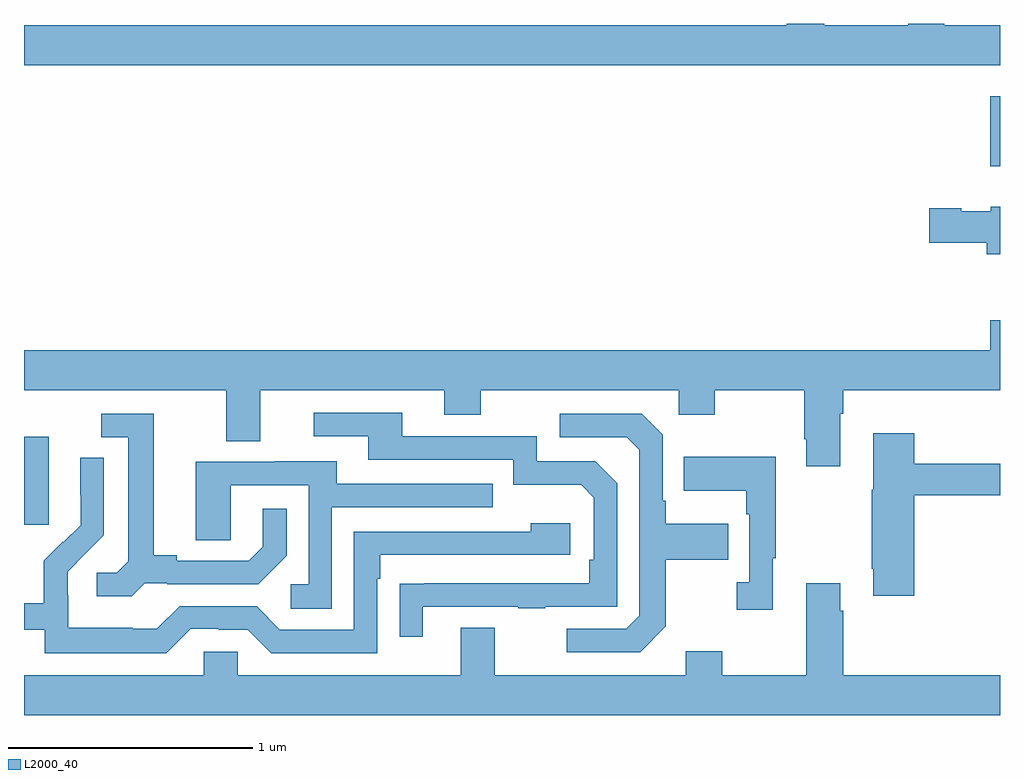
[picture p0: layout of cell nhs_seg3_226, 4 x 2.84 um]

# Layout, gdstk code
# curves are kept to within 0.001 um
import gdstk
lib = gdstk.Library(unit=1e-6, precision=1e-09)
def R(c, l, rs):  # rectangles x0, y0, x1, y1
    for r in rs: c.add(gdstk.rectangle(r[:2], r[2:], *l))
def P(c, l, *ps):  # polygons
    for p in ps: c.add(gdstk.Polygon(p, *l))
L2000_40 = (2000, 40)

nhs_seg3_226 = lib.new_cell('nhs_seg3_226')
R(nhs_seg3_226, L2000_40, [(121,720.345,121.102,720.706), (124.961,721.814,125,722.101)])
P(nhs_seg3_226, L2000_40, [(125,722.392),(124.771,722.392),(124.771,722.4),(124.624,722.4),(124.624,722.392),(124.279,722.392),(124.279,722.4),(124.127,722.4),(124.127,722.392),(121,722.392),(121,722.228),(125,722.228)],
  [(125,721.648),(124.962,721.648),(124.962,721.63),(124.842,721.63),(124.842,721.643),(124.71,721.643),(124.71,721.501),(124.946,721.501),(124.946,721.454),(125,721.454)],
  [(124.345,720.8),(124.358,720.8),(124.358,720.896),(125,720.896),(125,721.184),(124.961,721.184),(124.961,721.06),(121,721.06),(121,720.896),(121.829,720.896),(121.829,720.688),(121.969,720.688),(121.969,720.896),(122.723,720.896),(122.723,720.797),(122.871,720.797),(122.871,720.896),(123.684,720.896),(123.684,720.797),(123.831,720.797),(123.831,720.896),(124.198,720.896),(124.198,720.697),(124.205,720.697),(124.205,720.585),(124.345,720.585)],
  [(122.635,720.009),(123.025,720.009),(123.025,720.004),(123.137,720.004),(123.137,720.009),(123.432,720.009),(123.432,720.516),(123.342,720.606),(123.102,720.606),(123.102,720.708),(122.551,720.708),(122.551,720.804),(122.187,720.804),(122.187,720.708),(122.411,720.708),(122.411,720.612),(123.006,720.612),(123.006,720.509),(123.283,720.509),(123.336,720.456),(123.336,720.202),(123.316,720.202),(123.316,720.105),(122.539,720.104),(122.539,719.886),(122.635,719.886)],
  [(123.631,719.929),(123.631,720.202),(123.887,720.202),(123.887,720.349),(123.631,720.349),(123.631,720.445),(123.618,720.445),(123.618,720.714),(123.531,720.801),(123.195,720.801),(123.195,720.705),(123.471,720.705),(123.522,720.654),(123.522,719.973),(123.468,719.919),(123.225,719.919),(123.225,719.823),(123.525,719.823)],
  [(121.494,720.105),(121.588,720.105),(121.588,720.102),(121.96,720.102),(122.076,720.218),(122.076,720.412),(121.979,720.412),(121.979,720.255),(121.922,720.198),(121.627,720.198),(121.627,720.221),(121.531,720.221),(121.531,720.801),(121.317,720.801),(121.317,720.705),(121.427,720.705),(121.427,720.197),(121.38,720.15),(121.299,720.15),(121.299,720.053),(121.442,720.053)],
  [(124.649,720.466),(125,720.466),(125,720.595),(124.649,720.595),(124.649,720.721),(124.481,720.721),(124.481,720.489),(124.474,720.489),(124.474,720.166),(124.481,720.166),(124.481,720.054),(124.649,720.054)],
  [(124.069,720.209),(124.081,720.209),(124.081,720.625),(123.703,720.625),(123.703,720.485),(123.96,720.485),(123.96,720.389),(123.972,720.389),(123.972,720.11),(123.921,720.11),(123.921,719.997),(124.069,719.997)],
  [(121.683,719.919),(121.799,719.919),(121.799,719.916),(121.917,719.916),(122.013,719.82),(122.448,719.82),(122.448,720.125),(122.461,720.125),(122.461,720.222),(123.238,720.222),(123.238,720.352),(123.077,720.352),(123.077,720.318),(122.352,720.318),(122.352,719.916),(122.049,719.916),(121.953,720.012),(121.638,720.012),(121.545,719.919),(121.445,719.919),(121.445,719.923),(121.182,719.923),(121.182,720.057),(121.18,720.057),(121.18,720.154),(121.326,720.302),(121.326,720.62),(121.23,720.62),(121.23,720.466),(121.232,720.466),(121.232,720.344),(121.161,720.273),(121.158,720.276),(121.081,720.199),(121.081,720.025),(121,720.025),(121,719.916),(121.086,719.916),(121.086,719.819),(121.583,719.819)],
  [(122.262,720.417),(122.921,720.417),(122.921,720.513),(122.281,720.513),(122.281,720.607),(122.027,720.607),(122.027,720.603),(121.703,720.603),(121.703,720.283),(121.848,720.283),(121.848,720.507),(122.166,720.507),(122.166,720.102),(122.094,720.102),(122.094,720.001),(122.262,720.001)],
  [(125,719.728),(124.358,719.728),(124.358,719.993),(124.345,719.993),(124.345,720.106),(124.205,720.106),(124.205,719.728),(123.861,719.728),(123.861,719.827),(123.713,719.827),(123.713,719.728),(122.929,719.728),(122.929,719.923),(122.789,719.923),(122.789,719.728),(121.875,719.728),(121.875,719.826),(121.737,719.826),(121.737,719.728),(121,719.728),(121,719.564),(125,719.564)])

lib.write_gds('nhs_seg3_226.gds')
